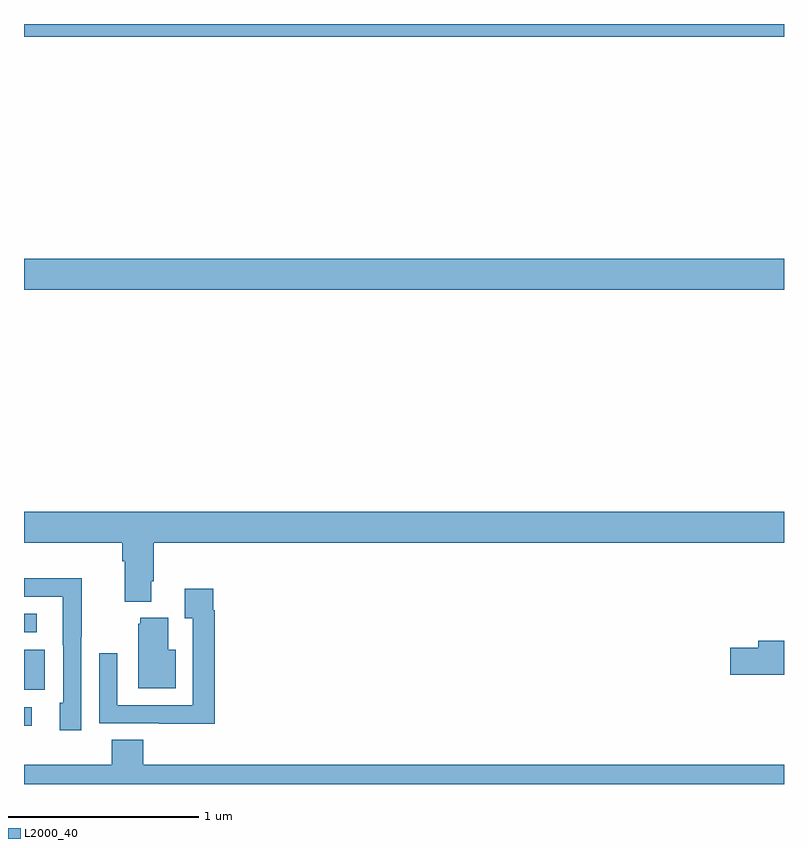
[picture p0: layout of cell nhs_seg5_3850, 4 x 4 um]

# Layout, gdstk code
import gdstk
lib = gdstk.Library(unit=1e-6, precision=1e-09)
def R(c, l, rs):  # rectangles x0, y0, x1, y1
    for r in rs: c.add(gdstk.rectangle(r[:2], r[2:], *l))
def P(c, l, *ps):  # polygons
    for p in ps: c.add(gdstk.Polygon(p, *l))
L2000_40 = (2000, 40)

nhs_seg5_3850 = lib.new_cell('nhs_seg5_3850')
R(nhs_seg5_3850, L2000_40, [(337,881.105,337.042,881.202), (337,881.294,337.108,881.506), (337,881.598,337.066,881.694), (337,883.4,341,883.564), (337,884.732,341,884.799)])
P(nhs_seg5_3850, L2000_40, [(337.669,881.866),(337.682,881.866),(337.682,882.068),(341,882.068),(341,882.232),(337,882.232),(337,882.068),(337.517,882.068),(337.517,881.972),(337.529,881.972),(337.529,881.759),(337.669,881.759)],
  [(337.302,881.575),(337.305,881.575),(337.305,881.882),(337,881.882),(337,881.784),(337.205,881.784),(337.205,881.53),(337.206,881.53),(337.206,881.226),(337.187,881.226),(337.187,881.082),(337.302,881.082)],
  [(338.003,881.714),(337.996,881.714),(337.996,881.827),(337.847,881.827),(337.847,881.671),(337.887,881.671),(337.887,881.214),(337.491,881.214),(337.491,881.488),(337.395,881.488),(337.395,881.118),(337.711,881.118),(337.711,881.117),(338.003,881.117)],
  [(337.798,881.506),(337.759,881.506),(337.759,881.674),(337.613,881.674),(337.613,881.643),(337.601,881.643),(337.601,881.303),(337.798,881.303)],
  [(341,881.552),(340.865,881.552),(340.865,881.516),(340.716,881.516),(340.716,881.374),(341,881.374)],
  [(341,880.9),(337.628,880.9),(337.628,881.033),(337.463,881.033),(337.463,880.9),(337,880.9),(337,880.799),(341,880.799)])

lib.write_gds('nhs_seg5_3850.gds')
